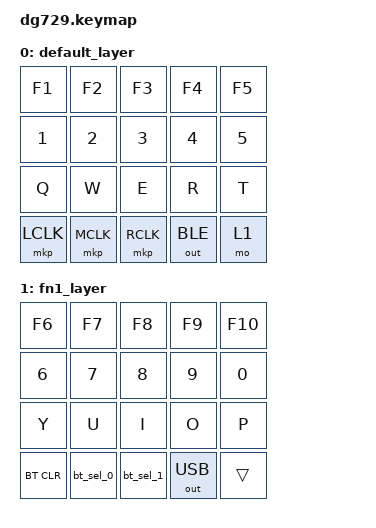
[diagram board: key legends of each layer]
#include <behaviors.dtsi>
#include <dt-bindings/zmk/outputs.h>
#include <dt-bindings/zmk/keys.h>
#include <dt-bindings/zmk/bt.h>
#include <dt-bindings/zmk/mouse.h>
#include <dt-bindings/zmk/mouse_settings.h>

#include "includes/mouse_keys.dtsi"

/ {
  macros {
    bt_sel_0: bt_profile_macro_0 {
      label = "BT_SEL_0";
      compatible = "zmk,behavior-macro";
      #binding-cells = <0>;
      bindings
        = <&out OUT_BLE>
        , <&bt BT_SEL 0>
        ;
    };

    bt_sel_1: bt_profile_macro_1 {
      label = "BT_SEL_1";
      compatible = "zmk,behavior-macro";
      #binding-cells = <0>;
      bindings
        = <&out OUT_BLE>
        , <&bt BT_SEL 1>
        ;
    };
  };

  keymap0: keymap {
    compatible = "zmk,keymap";

    default_layer {
      bindings = <
        &kp F1       &kp F2       &kp F3       &kp F4       &kp F5
        &kp 1        &kp 2        &kp 3        &kp 4        &kp 5
        &kp Q        &kp W        &kp E        &kp R        &kp T
        &mkp LCLK    &mkp MCLK    &mkp RCLK    &out OUT_BLE &mo 1
      >;
    };

    fn1_layer {
      bindings = <
        &kp F6       &kp F7       &kp F8       &kp F9       &kp F10
        &kp 6        &kp 7        &kp 8        &kp 9        &kp 0
        &kp Y        &kp U        &kp I        &kp O        &kp P
        &bt BT_CLR   &bt_sel_0    &bt_sel_1    &out OUT_USB &trans
      >;
    };
  };
};
